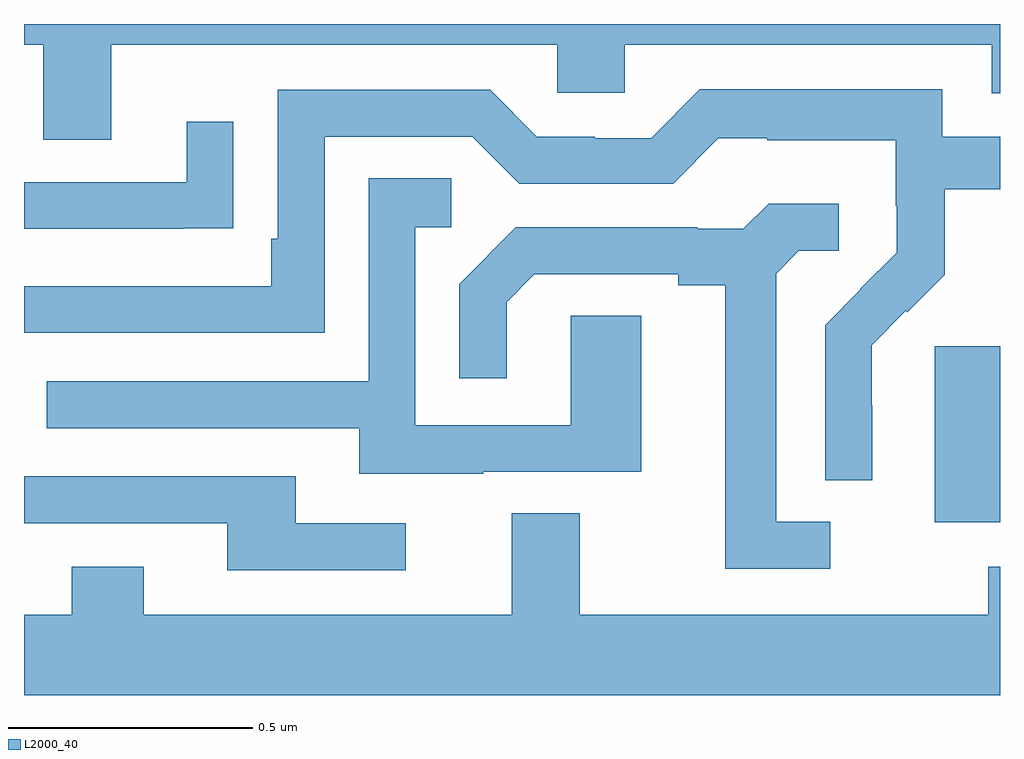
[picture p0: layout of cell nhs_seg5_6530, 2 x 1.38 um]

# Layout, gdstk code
import gdstk
lib = gdstk.Library(unit=1e-6, precision=1e-09)
def R(c, l, rs):  # rectangles x0, y0, x1, y1
    for r in rs: c.add(gdstk.rectangle(r[:2], r[2:], *l))
def P(c, l, *ps):  # polygons
    for p in ps: c.add(gdstk.Polygon(p, *l))
L2000_40 = (2000, 40)

nhs_seg5_6530 = lib.new_cell('nhs_seg5_6530')
R(nhs_seg5_6530, L2000_40, [(198.866,859.778,199,860.139)])
P(nhs_seg5_6530, L2000_40, [(197.179,860.756),(198.093,860.756),(198.093,860.658),(198.231,860.658),(198.231,860.756),(198.983,860.756),(198.983,860.657),(199,860.657),(199,860.799),(197,860.799),(197,860.756),(197.039,860.756),(197.039,860.562),(197.179,860.562)],
  [(198.738,860.018),(198.737,860.018),(198.737,860.141),(198.807,860.211),(198.81,860.208),(198.887,860.285),(198.887,860.46),(199,860.46),(199,860.568),(198.882,860.568),(198.882,860.665),(198.385,860.665),(198.285,860.565),(198.17,860.565),(198.17,860.568),(198.051,860.568),(197.955,860.664),(197.52,860.664),(197.52,860.359),(197.507,860.359),(197.507,860.262),(197,860.262),(197,860.166),(197.616,860.166),(197.616,860.568),(197.919,860.568),(198.015,860.472),(198.33,860.472),(198.423,860.565),(198.523,860.565),(198.523,860.561),(198.786,860.561),(198.786,860.427),(198.788,860.427),(198.788,860.33),(198.714,860.256),(198.715,860.255),(198.642,860.182),(198.642,859.864),(198.738,859.864)],
  [(197.327,860.38),(197.429,860.38),(197.429,860.599),(197.333,860.599),(197.333,860.475),(197,860.475),(197,860.379),(197.327,860.379)],
  [(197.941,859.881),(198.265,859.881),(198.265,860.201),(198.12,860.201),(198.12,859.977),(197.802,859.977),(197.802,860.382),(197.875,860.382),(197.875,860.483),(197.706,860.483),(197.706,860.067),(197.047,860.067),(197.047,859.971),(197.687,859.971),(197.687,859.877),(197.941,859.877)],
  [(198.652,859.779),(198.541,859.779),(198.541,860.287),(198.588,860.334),(198.67,860.334),(198.67,860.431),(198.526,860.431),(198.474,860.379),(198.38,860.379),(198.38,860.382),(198.008,860.382),(197.892,860.266),(197.892,860.073),(197.989,860.073),(197.989,860.229),(198.046,860.286),(198.341,860.286),(198.341,860.264),(198.437,860.264),(198.437,859.683),(198.652,859.683)],
  [(197.782,859.776),(197.557,859.776),(197.557,859.872),(197,859.872),(197,859.776),(197.417,859.776),(197.417,859.68),(197.782,859.68)],
  [(199,859.687),(198.976,859.687),(198.976,859.588),(198.139,859.588),(198.139,859.796),(197.999,859.796),(197.999,859.588),(197.245,859.588),(197.245,859.687),(197.098,859.687),(197.098,859.588),(197,859.588),(197,859.424),(199,859.424)])

lib.write_gds('nhs_seg5_6530.gds')
